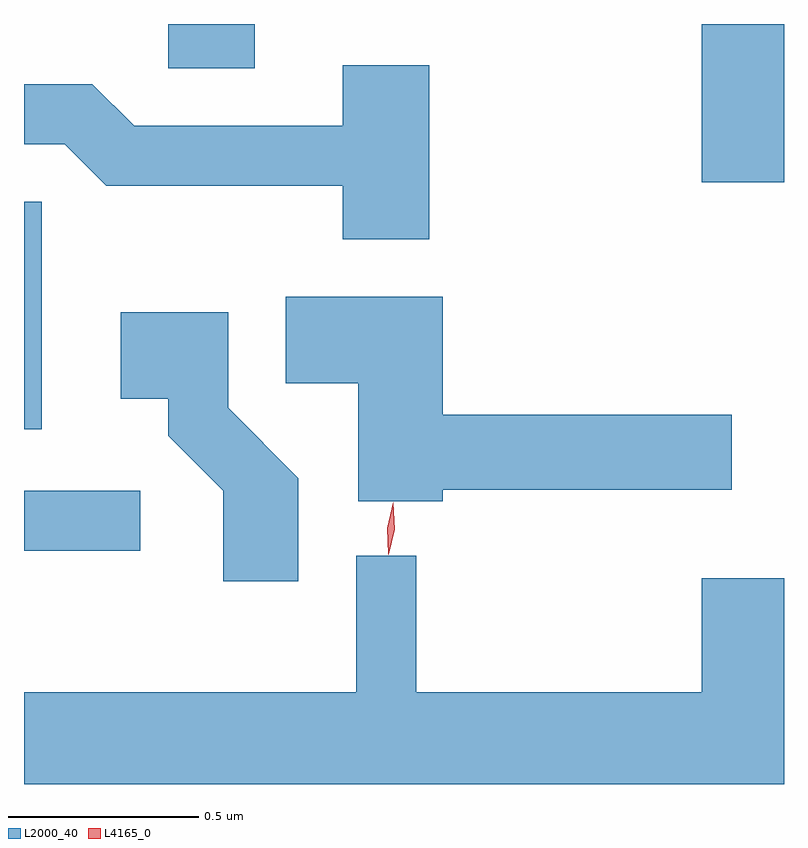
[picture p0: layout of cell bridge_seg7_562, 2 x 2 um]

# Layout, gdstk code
import gdstk
lib = gdstk.Library(unit=1e-6, precision=1e-09)
def R(c, l, rs):  # rectangles x0, y0, x1, y1
    for r in rs: c.add(gdstk.rectangle(r[:2], r[2:], *l))
def P(c, l, *ps):  # polygons
    for p in ps: c.add(gdstk.Polygon(p, *l))
L2000_40 = (2000, 40)
L4165_0 = (4165, 0)

bridge_seg7_562 = lib.new_cell('bridge_seg7_562')
R(bridge_seg7_562, L2000_40, [(892.612,1801.536,892.918,1801.694), (892.612,1801.856,892.659,1802.454), (894.396,1802.506,894.612,1802.922), (892.991,1802.806,893.219,1802.922)])
P(bridge_seg7_562, L2000_40, [(893.679,1802.814),(893.451,1802.814),(893.451,1802.654),(892.902,1802.654),(892.792,1802.764),(892.612,1802.764),(892.612,1802.606),(892.719,1802.606),(892.829,1802.496),(893.451,1802.496),(893.451,1802.356),(893.679,1802.356)],
  [(893.714,1801.696),(894.474,1801.696),(894.474,1801.894),(893.714,1801.894),(893.714,1802.204),(893.301,1802.204),(893.301,1801.976),(893.491,1801.976),(893.491,1801.666),(893.714,1801.666)],
  [(893.334,1801.727),(893.149,1801.912),(893.149,1802.164),(892.866,1802.164),(892.866,1801.936),(892.991,1801.936),(892.991,1801.839),(893.136,1801.694),(893.136,1801.456),(893.334,1801.456)],
  [(894.612,1801.464),(894.396,1801.464),(894.396,1801.164),(893.644,1801.164),(893.644,1801.523),(893.486,1801.523),(893.486,1801.164),(892.612,1801.164),(892.612,1800.922),(894.612,1800.922)])
P(bridge_seg7_562, L4165_0, [(893.571,1801.525),(893.571,1801.526),(893.568,1801.595),(893.584,1801.663),(893.584,1801.664),(893.584,1801.663),(893.587,1801.593),(893.572,1801.526)])

lib.write_gds('bridge_seg7_562.gds')
